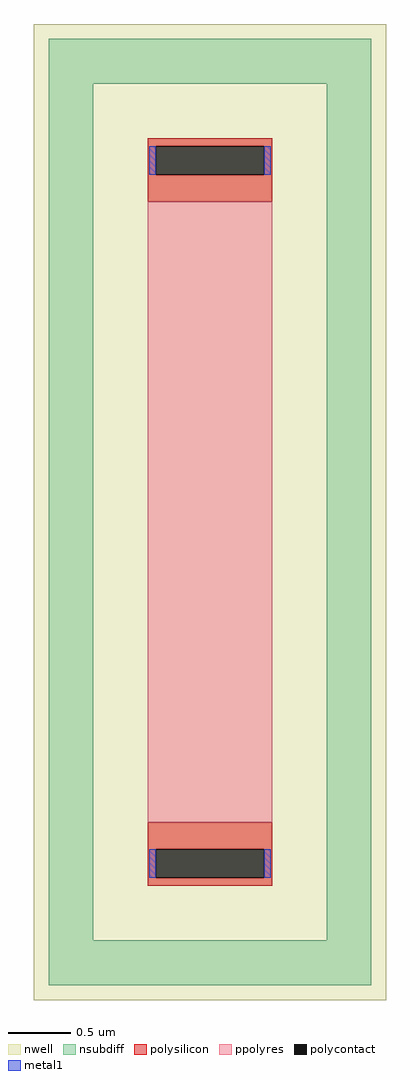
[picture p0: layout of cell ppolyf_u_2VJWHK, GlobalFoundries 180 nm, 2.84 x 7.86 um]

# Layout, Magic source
magic
tech gf180mcuC
magscale 1 10
<< nwell >>
rect -284 -786 284 786
<< nsubdiff >>
rect -260 690 260 762
rect -260 -690 -188 690
rect 188 -690 260 690
rect -260 -762 260 -690
<< polysilicon >>
rect -100 589 100 602
rect -100 543 -87 589
rect 87 543 100 589
rect -100 500 100 543
rect -100 -543 100 -500
rect -100 -589 -87 -543
rect 87 -589 100 -543
rect -100 -602 100 -589
<< polycontact >>
rect -87 543 87 589
rect -87 -589 87 -543
<< ppolyres >>
rect -100 -500 100 500
<< metal1 >>
rect -98 543 -87 589
rect 87 543 98 589
rect -98 -589 -87 -543
rect 87 -589 98 -543
<< properties >>
string FIXED_BBOX -224 -726 224 726
string gencell ppolyf_u
string library gf180mcu
string parameters w 1.0 l 5.0 m 1 nx 1 wmin 0.80 lmin 1.00 rho 315 val 1.693k dummy 0 dw 0.07 term 0.0 sterm 0.0 caplen 0.4 snake 0 glc 0 grc 0 gtc 0 gbc 0 roverlap 0 endcov 100 full_metal 0
<< end >>
